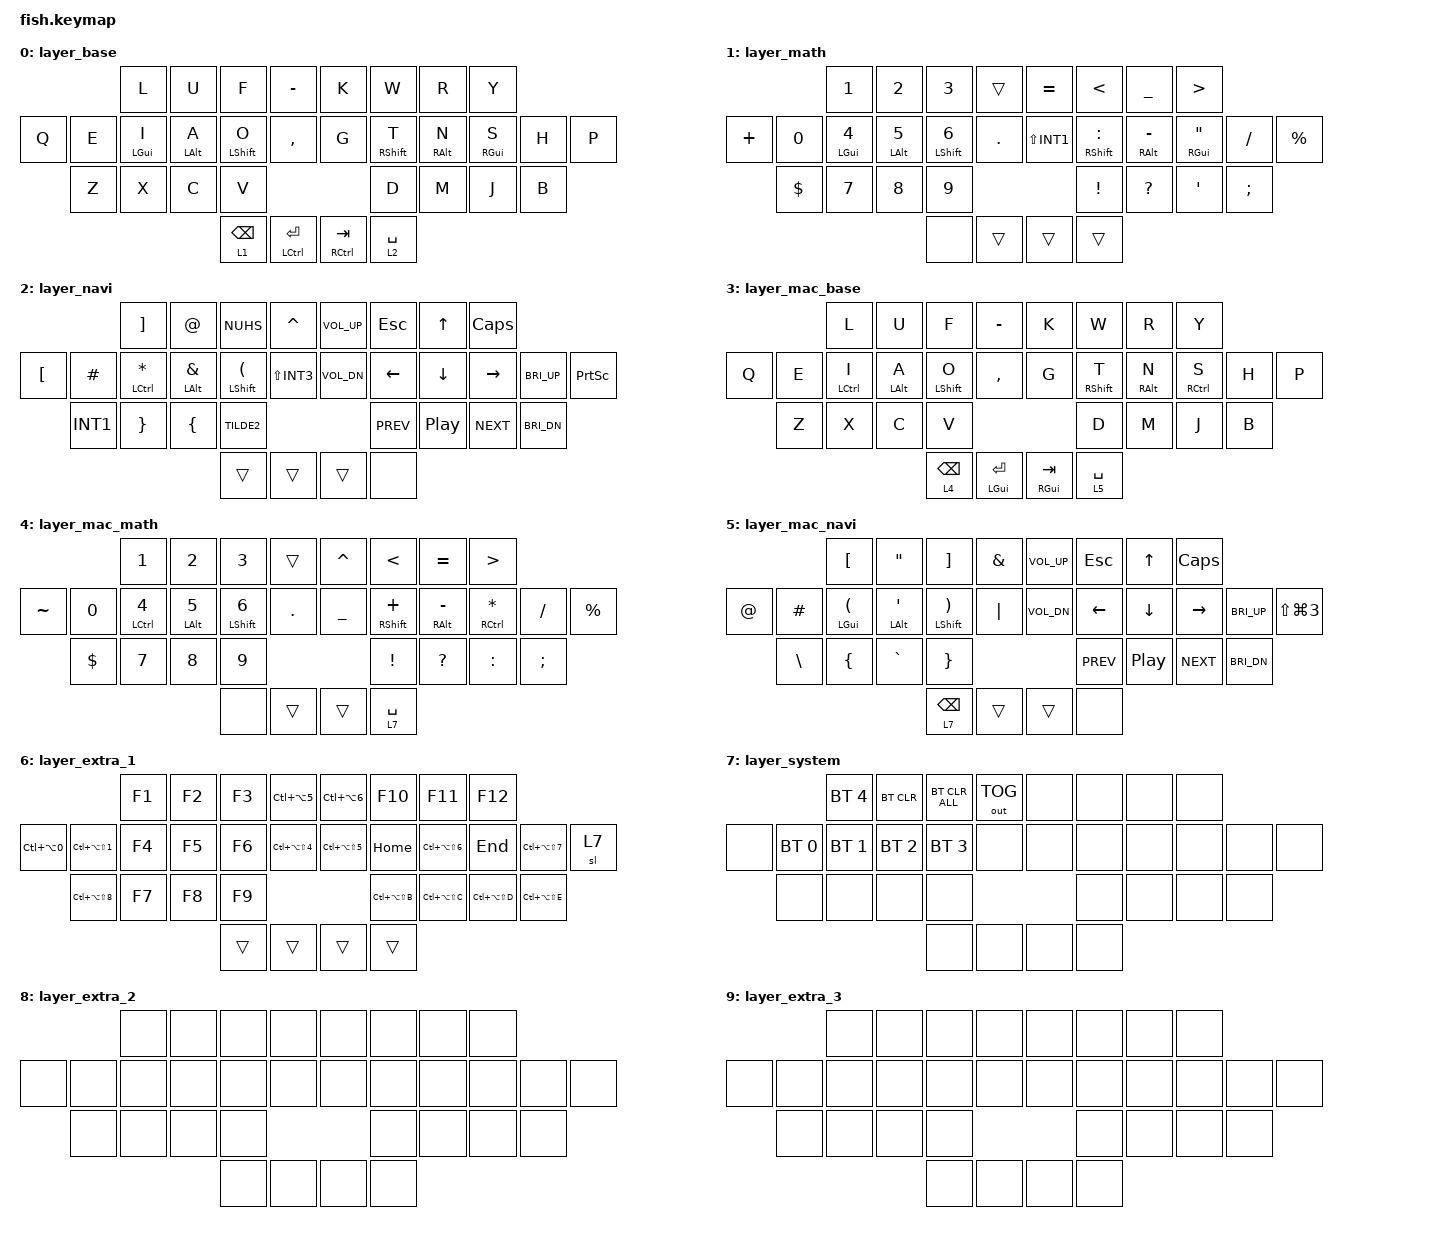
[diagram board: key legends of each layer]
// デフォルトキーマップ（大西配列、Win優先、ANSI方式）
// キーマップを更新する方法は https://o24.works/fish/guide を参照
// 視覚的に編集するには https://o24.works/fish/editor を参照

#include "keycode_japanese.h"

#include <behaviors.dtsi>
#include <dt-bindings/zmk/keys.h>
#include <dt-bindings/zmk/mouse.h>
#include <dt-bindings/zmk/bt.h>
#include <dt-bindings/zmk/outputs.h>
#include <dt-bindings/zmk/pointing.h>

&mt {
    flavor = "tap-preferred";
    tapping-term-ms = <225>;
    quick-tap-ms = <200>;
    require-prior-idle-ms = <150>;
};

&lt {
    flavor = "balanced";
    tapping-term-ms = <175>;
    quick-tap-ms = <200>;
};

&sk {
};

&sl {
    release-after-ms = <2000>;
};

&caps_word {
};

&key_repeat {
};

/ {
        behaviors {
        enter_ctrl: enter_ctrl {
            compatible = "zmk,behavior-hold-tap";
            #binding-cells = <2>;
            flavor = "hold-preferred";
            tapping-term-ms = <175>;
            bindings = <&kp>, <&kp>;
        };
    };

    macros {
    };

    // レイヤー1と2が同時に有効になった場合、
    // Windows操作用レイヤー6を有効にする
    conditional_layers {
        compatible = "zmk,conditional-layers";

        pc_layer {
            if-layers = <1 2>;
            then-layer = <6>;
        };
    };

    // キー番号早見表：
    //       0  1  2  3     4  5  6  7
    // 8  9 10 11 12 13    14 15 16 17 18 19
    //   20 21 22 23          24 25 26 27
    //            28 29    30 31

    combos {
        compatible = "zmk,combos";
        timeout-ms = <100>;
        require-prior-idle-ms = <150>;

        combo_lang2 {
            key-positions = <11 12>;
            bindings = <&kp LANG2>;
        };

        combo_lang1 {
            key-positions = <15 16>;
            bindings = <&kp LANG1>;
        };

        // Windows操作レイヤー6を除き、
        // 基本・数字・ナビ・Mac各レイヤーとシステムレイヤー7で有効
        combo_reset_L {
            key-positions = <3 8 13>;
            bindings = <&bootloader>;
            layers = <0 1 2 3 4 5 7>;
        };

        combo_reset_R {
            key-positions = <4 14 19>;
            bindings = <&bootloader>;
            layers = <0 1 2 3 4 5 7>;
        };

        combo_studio_unlock {
            key-positions = <20 21 22 23>;
            bindings = <&studio_unlock>;
        };
    };

    keymap {
        compatible = "zmk,keymap";

        // レイヤー0：基本（大西配列）
        layer_base {
            bindings = <
                        &kp L       &kp U       &kp F       &kp MINUS           &kp K       &kp W       &kp R       &kp Y
&kp Q       &kp E       &mt LGUI I  &mt LALT A  &mt LSHFT O &kp COMMA           &kp G       &mt RSHFT T &mt RALT N  &mt RGUI S  &kp H       &kp P
            &kp Z       &kp X       &kp C       &kp V                                       &kp D       &kp M       &kp J       &kp B
                                                &lt 1 BSPC  &enter_ctrl LCTRL RET  &mt RCTRL TAB  &lt 2 SPACE
            >;
        };

        // レイヤー1：数字・記号
        layer_math {
            bindings = <
                        &kp N1      &kp N2      &kp N3      &trans              &kp EQUAL   &kp LT      &kp UNDER   &kp GT
&kp PLUS    &kp N0      &mt LGUI N4 &mt LALT N5 &mt LSHFT N6 &kp DOT            &kp LS(INT1) &mt RSHFT COLON &mt RALT MINUS &mt RGUI DQT &kp FSLH &kp PRCNT
            &kp DLLR    &kp N7      &kp N8      &kp N9                                      &kp EXCL    &kp QMARK   &kp SQT     &kp SEMI
                                                &none       &trans              &trans      &trans
            >;
        };

        // レイヤー2：ナビゲーション・記号
        layer_navi {
            bindings = <
                        &kp RBKT    &kp AT      &kp NUHS    &kp CARET           &kp C_VOL_UP &kp ESC    &kp UP      &kp CAPS
&kp LBKT    &kp HASH    &mt LCTRL STAR &mt LALT AMPS &mt LSHFT LPAR &kp LS(INT3) &kp C_VOL_DN &kp LEFT   &kp DOWN    &kp RIGHT   &kp C_BRI_UP &kp PSCRN
            &kp INT1    &kp RBRC    &kp LBRC    &kp TILDE2                                  &kp C_PREV  &kp C_PP    &kp C_NEXT  &kp C_BRI_DN
                                                &trans      &trans              &trans      &none
            >;
        };

        // レイヤー3：Mac基本
        layer_mac_base {
            bindings = <
                        &kp L       &kp U       &kp F       &kp MINUS           &kp K       &kp W       &kp R       &kp Y
&kp Q       &kp E       &mt LCTRL I &mt LALT A  &mt LSHFT O &kp COMMA           &kp G       &mt RSHFT T &mt RALT N  &mt RCTRL S &kp H       &kp P
            &kp Z       &kp X       &kp C       &kp V                                       &kp D       &kp M       &kp J       &kp B
                                                &lt 4 BSPC  &mt LGUI RET        &mt RGUI TAB &lt 5 SPACE
            >;
        };

        // レイヤー4：Mac数字・記号
        layer_mac_math {
            bindings = <
                        &kp N1      &kp N2      &kp N3      &trans              &kp CARET   &kp LT      &kp EQUAL   &kp GT
&kp TILDE   &kp N0      &mt LCTRL N4 &mt LALT N5 &mt LSHFT N6 &kp DOT           &kp UNDER   &mt RSHFT PLUS &mt RALT MINUS &mt RCTRL STAR &kp FSLH &kp PRCNT
            &kp DLLR    &kp N7      &kp N8      &kp N9                                      &kp EXCL    &kp QMARK   &kp COLON   &kp SEMI
                                                &none       &trans              &trans      &lt 7 SPACE
            >;
        };

        // レイヤー5：Macナビゲーション
        layer_mac_navi {
            bindings = <
                        &kp LBKT    &kp DQT     &kp RBKT    &kp AMPS            &kp C_VOL_UP &kp ESC    &kp UP      &kp CAPS
&kp AT      &kp HASH    &mt LGUI LPAR &mt LALT SQT &mt LSHFT RPAR &kp PIPE      &kp C_VOL_DN &kp LEFT   &kp DOWN    &kp RIGHT   &kp C_BRI_UP &kp LS(LG(N3))
            &kp BSLH    &kp LBRC    &kp GRAVE   &kp RBRC                                    &kp C_PREV  &kp C_PP    &kp C_NEXT  &kp C_BRI_DN
                                                &lt 7 BSPC  &trans              &trans      &none
            >;
        };

        // レイヤー6：Windows操作用ショートカット＋F1～F12
        layer_extra_1 {
            bindings = <
                        &kp F1      &kp F2      &kp F3      &kp LC(LA(N5))      &kp LC(LA(N6)) &kp F10 &kp F11 &kp F12
&kp LC(LA(N0)) &kp LC(LA(LS(N1))) &kp F4 &kp F5 &kp F6 &kp LC(LA(LS(N4))) &kp LC(LA(LS(N5))) &kp HOME &kp LC(LA(LS(N6))) &kp END &kp LC(LA(LS(N7))) &sl 7
            &kp LC(LA(LS(N8))) &kp F7 &kp F8 &kp F9                                  &kp LC(LA(LS(B))) &kp LC(LA(LS(C))) &kp LC(LA(LS(D))) &kp LC(LA(LS(E)))
                                                &trans      &trans              &trans      &trans
            >;
        };

        // レイヤー7：Bluetooth操作専用
        // 左手側のBluetooth操作以外は無効化
        layer_system {
            bindings = <
                        &bt BT_SEL 4 &bt BT_CLR &bt BT_CLR_ALL &out OUT_TOG     &none       &none       &none       &none
&none       &bt BT_SEL 0 &bt BT_SEL 1 &bt BT_SEL 2 &bt BT_SEL 3 &none          &none       &none       &none       &none       &none       &none
            &none       &none       &none       &none                                       &none       &none       &none       &none
                                                &none       &none               &none       &none
            >;
        };

        // 予備レイヤー8
        layer_extra_2 {
            bindings = <
                        &none       &none       &none       &none               &none       &none       &none       &none
&none       &none       &none       &none       &none       &none               &none       &none       &none       &none       &none       &none
            &none       &none       &none       &none                                       &none       &none       &none       &none
                                                &none       &none               &none       &none
            >;
        };

        // 予備レイヤー9
        layer_extra_3 {
            bindings = <
                        &none       &none       &none       &none               &none       &none       &none       &none
&none       &none       &none       &none       &none       &none               &none       &none       &none       &none       &none       &none
            &none       &none       &none       &none                                       &none       &none       &none       &none
                                                &none       &none               &none       &none
            >;
        };
    };
};
